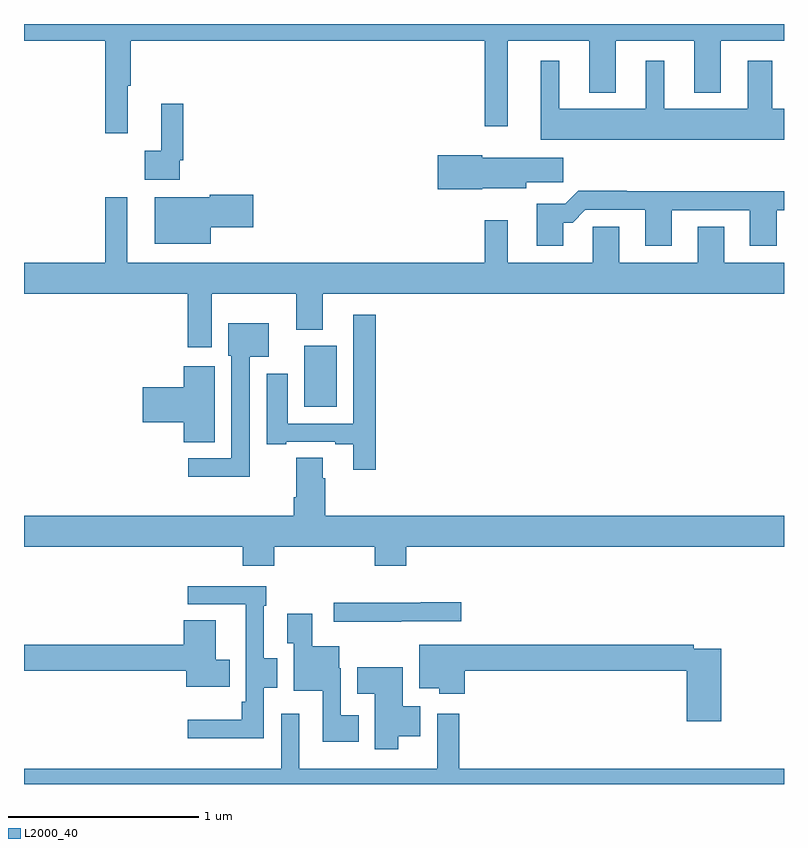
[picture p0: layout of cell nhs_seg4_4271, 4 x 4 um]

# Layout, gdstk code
import gdstk
lib = gdstk.Library(unit=1e-6, precision=1e-09)
def R(c, l, rs):  # rectangles x0, y0, x1, y1
    for r in rs: c.add(gdstk.rectangle(r[:2], r[2:], *l))
def P(c, l, *ps):  # polygons
    for p in ps: c.add(gdstk.Polygon(p, *l))
L2000_40 = (2000, 40)

nhs_seg4_4271 = lib.new_cell('nhs_seg4_4271')
R(nhs_seg4_4271, L2000_40, [(340.475,802.886,340.645,803.206)])
P(nhs_seg4_4271, L2000_40, [(339.545,804.576),(339.563,804.576),(339.563,804.812),(341.424,804.812),(341.424,804.363),(341.545,804.363),(341.545,804.812),(341.975,804.812),(341.975,804.539),(342.115,804.539),(342.115,804.812),(342.527,804.812),(342.527,804.539),(342.667,804.539),(342.667,804.812),(343,804.812),(343,804.9),(339,804.9),(339,804.812),(339.427,804.812),(339.427,804.324),(339.545,804.324)],
  [(343,804.454),(342.937,804.454),(342.937,804.706),(342.809,804.706),(342.809,804.454),(342.37,804.454),(342.37,804.706),(342.272,804.706),(342.272,804.454),(341.818,804.454),(341.818,804.706),(341.72,804.706),(341.72,804.29),(343,804.29)],
  [(339.819,804.184),(339.839,804.184),(339.839,804.481),(339.722,804.481),(339.722,804.233),(339.636,804.233),(339.636,804.08),(339.819,804.08)],
  [(341.412,804.035),(341.644,804.035),(341.644,804.067),(341.839,804.067),(341.839,804.196),(341.412,804.196),(341.412,804.209),(341.178,804.209),(341.178,804.031),(341.412,804.031)],
  [(341.839,803.855),(341.888,803.855),(341.955,803.922),(342.269,803.922),(342.269,803.733),(342.409,803.733),(342.409,803.919),(342.821,803.919),(342.821,803.733),(342.961,803.733),(342.961,803.919),(343,803.919),(343,804.02),(342.173,804.02),(342.173,804.023),(341.918,804.023),(341.848,803.953),(341.699,803.953),(341.699,803.733),(341.839,803.733)],
  [(339.982,803.831),(340.207,803.831),(340.207,804.002),(339.978,804.002),(339.978,803.989),(339.689,803.989),(339.689,803.744),(339.982,803.744)],
  [(339.988,803.48),(340.433,803.48),(340.433,803.291),(340.573,803.291),(340.573,803.48),(343,803.48),(343,803.644),(342.685,803.644),(342.685,803.834),(342.545,803.834),(342.545,803.644),(342.133,803.644),(342.133,803.834),(341.994,803.834),(341.994,803.644),(341.545,803.644),(341.545,803.866),(341.424,803.866),(341.424,803.644),(339.544,803.644),(339.544,803.989),(339.427,803.989),(339.427,803.644),(339,803.644),(339,803.48),(339.863,803.48),(339.863,803.199),(339.988,803.199)],
  [(340.85,803.371),(340.734,803.371),(340.734,802.797),(340.387,802.797),(340.387,803.059),(340.277,803.059),(340.277,802.689),(340.381,802.689),(340.381,802.701),(340.637,802.701),(340.637,802.689),(340.733,802.689),(340.733,802.554),(340.85,802.554)],
  [(340.188,803.15),(340.288,803.15),(340.288,803.326),(340.076,803.326),(340.076,803.154),(340.092,803.154),(340.092,802.614),(339.864,802.614),(339.864,802.517),(340.188,802.517)],
  [(340.003,803.098),(339.842,803.098),(339.842,802.988),(339.624,802.988),(339.624,802.805),(339.842,802.805),(339.842,802.699),(340.003,802.699)],
  [(340.316,802.148),(340.847,802.148),(340.847,802.049),(341.012,802.049),(341.012,802.148),(343,802.148),(343,802.312),(340.586,802.312),(340.586,802.508),(340.573,802.508),(340.573,802.616),(340.433,802.616),(340.433,802.408),(340.421,802.408),(340.421,802.312),(339,802.312),(339,802.148),(340.151,802.148),(340.151,802.049),(340.316,802.049)],
  [(340.263,801.406),(340.333,801.406),(340.333,801.561),(340.263,801.561),(340.263,801.839),(340.276,801.839),(340.276,801.942),(339.861,801.942),(339.861,801.846),(340.166,801.846),(340.166,801.649),(340.167,801.649),(340.167,801.334),(340.147,801.334),(340.147,801.238),(339.861,801.238),(339.861,801.14),(340.263,801.14)],
  [(340.985,801.756),(341.302,801.756),(341.302,801.857),(341.089,801.857),(341.089,801.854),(340.629,801.854),(340.629,801.754),(340.985,801.754)],
  [(340.762,801.262),(340.668,801.262),(340.668,801.51),(340.66,801.51),(340.66,801.625),(340.518,801.625),(340.518,801.796),(340.385,801.796),(340.385,801.64),(340.421,801.64),(340.421,801.392),(340.572,801.392),(340.572,801.122),(340.762,801.122)],
  [(340.082,801.553),(340.009,801.553),(340.009,801.761),(339.842,801.761),(339.842,801.632),(339,801.632),(339,801.496),(339.854,801.496),(339.854,801.413),(340.082,801.413)],
  [(342.671,801.612),(342.524,801.612),(342.524,801.632),(341.304,801.632),(341.304,801.634),(341.081,801.634),(341.081,801.404),(341.186,801.404),(341.186,801.374),(341.321,801.374),(341.321,801.496),(342.488,801.496),(342.488,801.231),(342.671,801.231)],
  [(340.969,801.152),(341.086,801.152),(341.086,801.31),(340.993,801.31),(340.993,801.514),(340.753,801.514),(340.753,801.374),(340.847,801.374),(340.847,801.084),(340.969,801.084)],
  [(343,800.98),(341.291,800.98),(341.291,801.271),(341.175,801.271),(341.175,800.98),(340.449,800.98),(340.449,801.271),(340.353,801.271),(340.353,800.98),(339,800.98),(339,800.9),(343,800.9)])

lib.write_gds('nhs_seg4_4271.gds')
